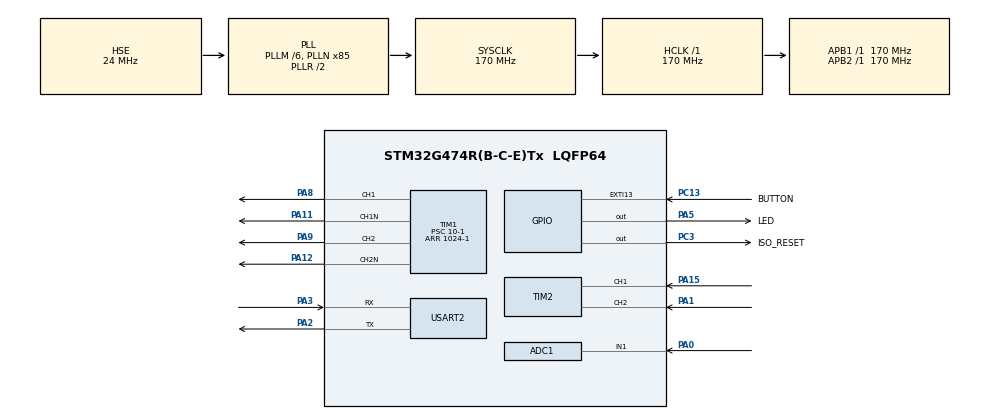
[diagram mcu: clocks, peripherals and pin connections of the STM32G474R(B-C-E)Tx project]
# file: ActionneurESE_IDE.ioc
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ADC1.Channel-0\#ChannelRegularConversion=ADC_CHANNEL_1
ADC1.DMAContinuousRequests=ENABLE
ADC1.ExternalTrigConv=ADC_EXTERNALTRIG_T1_TRGO
ADC1.NbrOfConversionFlag=1
ADC1.OffsetNumber-0\#ChannelRegularConversion=ADC_OFFSET_NONE
ADC1.Rank-0\#ChannelRegularConversion=1
ADC1.SamplingTime-0\#ChannelRegularConversion=ADC_SAMPLETIME_92CYCLES_5
ADC1.master=1
Dma.ADC1.0.Direction=DMA_PERIPH_TO_MEMORY
Dma.ADC1.0.EventEnable=DISABLE
Dma.ADC1.0.Instance=DMA1_Channel1
Dma.ADC1.0.MemDataAlignment=DMA_MDATAALIGN_HALFWORD
Dma.ADC1.0.MemInc=DMA_MINC_ENABLE
Dma.ADC1.0.Mode=DMA_CIRCULAR
Dma.ADC1.0.PeriphDataAlignment=DMA_PDATAALIGN_HALFWORD
Dma.ADC1.0.PeriphInc=DMA_PINC_DISABLE
Dma.ADC1.0.Polarity=HAL_DMAMUX_REQ_GEN_RISING
Dma.ADC1.0.Priority=DMA_PRIORITY_LOW
Dma.ADC1.0.RequestNumber=1
Dma.ADC1.0.SignalID=NONE
Dma.ADC1.0.SyncEnable=DISABLE
Dma.ADC1.0.SyncPolarity=HAL_DMAMUX_SYNC_NO_EVENT
Dma.ADC1.0.SyncRequestNumber=1
Dma.ADC1.0.SyncSignalID=NONE
Dma.Request0=ADC1
Mcu.Family=STM32G4
Mcu.Name=STM32G474R(B-C-E)Tx
Mcu.Package=LQFP64
NVIC.DMA1_Channel1_IRQn=true\:0\:0\:false\:false\:true\:false\:true\:true
NVIC.EXTI15_10_IRQn=true\:1\:0\:true\:false\:true\:true\:true\:true
NVIC.PriorityGroup=NVIC_PRIORITYGROUP_4
NVIC.RCC_IRQn=true\:0\:0\:false\:false\:true\:true\:false\:true
NVIC.TIM8_UP_IRQn=true\:0\:0\:false\:false\:true\:true\:true\:true
NVIC.USART2_IRQn=true\:1\:0\:true\:false\:true\:true\:true\:true
PA0.Mode=IN1-Single-Ended
PA0.Signal=ADC1_IN1
PA1.Signal=S_TIM2_CH2
PA11.Mode=PWM Generation1 CH1 CH1N
PA11.Signal=TIM1_CH1N
PA12.Mode=PWM Generation2 CH2 CH2N
PA12.Signal=TIM1_CH2N
PA13.GPIO_Label=T_SWDIO
PA13.Mode=Serial_Wire
PA13.Signal=SYS_JTMS-SWDIO
PA14.GPIO_Label=T_SWCLK
PA14.Mode=Serial_Wire
PA14.Signal=SYS_JTCK-SWCLK
PA15.Signal=S_TIM2_CH1
PA2.Mode=Asynchronous
PA2.Signal=USART2_TX
PA3.Mode=Asynchronous
PA3.Signal=USART2_RX
PA5.GPIO_Label=LED
PA5.Signal=GPIO_Output
PA8.Signal=S_TIM1_CH1
PA9.Signal=S_TIM1_CH2
PC13.GPIO_Label=BUTTON
PC13.Signal=GPXTI13
PC14-OSC32_IN.Mode=LSE-External-Oscillator
PC14-OSC32_IN.Signal=RCC_OSC32_IN
PC15-OSC32_OUT.Mode=LSE-External-Oscillator
PC15-OSC32_OUT.Signal=RCC_OSC32_OUT
PC3.GPIO_Label=ISO_RESET
PC3.Signal=GPIO_Output
PF0-OSC_IN.Mode=HSE-External-Oscillator
PF0-OSC_IN.Signal=RCC_OSC_IN
PF1-OSC_OUT.Mode=HSE-External-Oscillator
PF1-OSC_OUT.Signal=RCC_OSC_OUT
ProjectManager.HeapSize=0x200
ProjectManager.StackSize=0x400
ProjectManager.TargetToolchain=STM32CubeIDE
RCC.ADC12Freq_Value=170000000
RCC.ADC345Freq_Value=170000000
RCC.AHBFreq_Value=170000000
RCC.APB1Freq_Value=170000000
RCC.APB1TimFreq_Value=170000000
RCC.APB2Freq_Value=170000000
RCC.APB2TimFreq_Value=170000000
RCC.CortexFreq_Value=170000000
RCC.EXTERNAL_CLOCK_VALUE=12288000
RCC.HCLKFreq_Value=170000000
RCC.HSE_VALUE=24000000
RCC.HSI48_VALUE=48000000
RCC.HSI_VALUE=16000000
RCC.PLLM=RCC_PLLM_DIV6
RCC.PLLN=85
RCC.PLLSourceVirtual=RCC_PLLSOURCE_HSE
RCC.RTCClockSelection=RCC_RTCCLKSOURCE_LSE
RCC.SYSCLKFreq_VALUE=170000000
RCC.SYSCLKSource=RCC_SYSCLKSOURCE_PLLCLK
RCC.USBFreq_Value=170000000
RCC.VCOOutputFreq_Value=340000000
SH.S_TIM1_CH1.0=TIM1_CH1,PWM Generation1 CH1 CH1N
SH.S_TIM1_CH2.0=TIM1_CH2,PWM Generation2 CH2 CH2N
SH.S_TIM2_CH1.0=TIM2_CH1,Encoder_Interface
SH.S_TIM2_CH2.0=TIM2_CH2,Encoder_Interface
TIM1.AutoReloadPreload=TIM_AUTORELOAD_PRELOAD_ENABLE
TIM1.Channel-PWM\ Generation1\ CH1\ CH1N=TIM_CHANNEL_1
TIM1.Channel-PWM\ Generation2\ CH2\ CH2N=TIM_CHANNEL_2
TIM1.CounterMode=TIM_COUNTERMODE_CENTERALIGNED1
TIM1.DeadTime=210
TIM1.DeadTimePreload=ENABLE
TIM1.PeriodNoDither=1024-1
TIM1.Prescaler=10-1
TIM1.PulseNoDither_1=614
TIM1.PulseNoDither_2=410
TIM1.TIM_MasterOutputTrigger=TIM_TRGO_UPDATE
TIM1.TIM_MasterSlaveMode=TIM_MASTERSLAVEMODE_ENABLE
TIM8.PeriodNoDither=1700
TIM8.Prescaler=100
USART2.VirtualMode-Asynchronous=VM_ASYNC
VP_SYS_VS_DBSignals.Mode=DisableDeadBatterySignals
VP_TIM8_VS_ClockSourceINT.Mode=Internal
board=NUCLEO-G474RE

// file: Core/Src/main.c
/* USER CODE BEGIN Header */
/**
 ******************************************************************************
 * @file           : main.c
 * @brief          : Main program body
 ******************************************************************************
 *
 *Programme permettant de:
 *
 *Réaliser un shell pour commander le hacheur \n
 *Réaliser la commande des 4 transistors du hacheur en commande complémentaire décalée \n
 *Faire l'acquisition des différents capteurs \n
 *Réaliser l'asservissement en temps réel \n
 *
 ******************************************************************************
 */
/* USER CODE END Header */
#include "main.h"
#include "adc.h"
#include "dma.h"
#include "tim.h"
#include "usart.h"
#include "gpio.h"

/* USER CODE BEGIN Includes */
#include <stdio.h>
#include <stdlib.h>
#include <string.h>
#include "power_module.h"
#include "asservissement.h"

/* USER CODE END Includes */

/* USER CODE BEGIN PD */
#define UART_TX_BUFFER_SIZE 64
#define UART_RX_BUFFER_SIZE 1
#define CMD_BUFFER_SIZE 64
#define MAX_ARGS 9
// LF = line feed, saut de ligne
#define ASCII_LF 0x0A
// CR = carriage return, retour chariot
#define ASCII_CR 0x0D
// DEL = delete
#define ASCII_DEL 0x7F
/* USER CODE END PD */

/* USER CODE BEGIN PV */
uint8_t prompt[]="user@Nucleo-STM32G431>>";
uint8_t started[]=
		"\r\n*-----------------------------*"
		"\r\n| Welcome on Nucleo-STM32G431 |"
		"\r\n*-----------------------------*"
		"\r\n";
uint8_t help[]=
		"\r\n*-------*"
		"\r\n| start |"
		"\r\n*-----------------------------*"
		"\r\n*-----------------------------*"
		"\r\n| stop |"
		"\r\n*-----------------------------*"
		"\r\n*-----------------------------*"
		"\r\n| speed=<dutyCycle> |"
		"\r\n*-----------------------------*"
		"\r\n*-----------------------------*"
		"\r\n| current |"
		"\r\n*---------*"
		"\r\n";
uint8_t newline[]="\r\n";
uint8_t cmdNotFound[]="Command not found\r\n";
uint8_t ADCError[]="Error with ADC";
uint32_t uartRxReceived;
uint8_t uartRxBuffer[UART_RX_BUFFER_SIZE];
uint8_t uartTxBuffer[UART_TX_BUFFER_SIZE];
uint32_t ADC_Buffer[ADC_BUF_SIZE];
uint8_t printCurrent[] = "\r\nCurrent = %d \r\n";
const uint8_t powerOn[] ="Power ON \r\n ";
const uint8_t powerOff[] = "Power OFF \r\n ";
const uint8_t vitesseNotFound[]="\r\n Vitessse Inconnu \r\n";
uint8_t printSpeed[] = "\r\nSpeed = %d \r\n";
uint16_t vitesse;

/* USER CODE END PV */

void SystemClock_Config(void);

int main(void)
{
	/* USER CODE BEGIN 1 */
	char	 	cmdBuffer[CMD_BUFFER_SIZE];
	int 		idx_cmd;
	char* 		argv[MAX_ARGS];
	int		 	argc = 0;
	char*		token;
	int 		newCmdReady = 0;

	/* USER CODE END 1 */

	/* MCU Configuration--------------------------------------------------------*/

	/* Reset of all peripherals, Initializes the Flash interface and the Systick. */
	HAL_Init();

	/* Configure the system clock */
	SystemClock_Config();

	/* Initialize all configured peripherals */
	MX_GPIO_Init();
	MX_DMA_Init();
	MX_TIM1_Init();
	MX_USART2_UART_Init();
	MX_ADC1_Init();
	MX_TIM2_Init();
	MX_TIM8_Init();
	/* USER CODE BEGIN 2 */
	if(HAL_OK != HAL_ADC_Start_DMA(&hadc1, ADC_Buffer, ADC_BUF_SIZE))
		HAL_UART_Transmit(&huart2, ADCError, sizeof(ADCError), HAL_MAX_DELAY);

	memset(argv,0,MAX_ARGS*sizeof(char*));
	memset(cmdBuffer,0,CMD_BUFFER_SIZE*sizeof(char));
	memset(uartRxBuffer,0,UART_RX_BUFFER_SIZE*sizeof(char));
	memset(uartTxBuffer,0,UART_TX_BUFFER_SIZE*sizeof(char));

	HAL_UART_Receive_IT(&huart2, uartRxBuffer, UART_RX_BUFFER_SIZE);
	HAL_Delay(10);

	HAL_UART_Transmit(&huart2, started, sizeof(started), HAL_MAX_DELAY);
	HAL_UART_Transmit(&huart2, prompt, sizeof(prompt), HAL_MAX_DELAY);

	/* USER CODE END 2 */

	/* Infinite loop */
	/* USER CODE BEGIN WHILE */
	while (1)
	{
		// uartRxReceived is set to 1 when a new character is received on uart 1
		if(uartRxReceived){
			switch(uartRxBuffer[0]){
			// Nouvelle ligne, instruction à traiter
			case ASCII_CR:
				HAL_UART_Transmit(&huart2, newline, sizeof(newline), HAL_MAX_DELAY);
				cmdBuffer[idx_cmd] = '\0';
				argc = 0;
				token = strtok(cmdBuffer, "=");//
				while(token!=NULL){
					argv[argc++] = token;
					token = strtok(NULL, " ");
				}
				idx_cmd = 0;
				newCmdReady = 1;
				break;
				// Suppression du dernier caractère
			case ASCII_DEL:
				cmdBuffer[idx_cmd--] = '\0';
				HAL_UART_Transmit(&huart2, uartRxBuffer, UART_RX_BUFFER_SIZE, HAL_MAX_DELAY);
				break;
				// Nouveau caractère
			default:
				cmdBuffer[idx_cmd++] = uartRxBuffer[0];
				HAL_UART_Transmit(&huart2, uartRxBuffer, UART_RX_BUFFER_SIZE, HAL_MAX_DELAY);
			}
			uartRxReceived = 0;
		}

		if(newCmdReady){

			if(strcmp(argv[0],"speed")==0){
				if(strlen(argv[1])==2)
				{
					change_ccr(atoi(argv[1]));
				}
				else {
					HAL_UART_Transmit(&huart2, vitesseNotFound, sizeof(vitesseNotFound), HAL_MAX_DELAY);                      }

			}
			else if(strcmp(argv[0],"start")==0)
			{
				start_module();
				HAL_UART_Transmit(&huart2, powerOn, sizeof(powerOn), HAL_MAX_DELAY);

			}
			else if(strcmp(argv[0],"stop")==0)
			{
				stop_module();
				HAL_UART_Transmit(&huart2, powerOff, sizeof(powerOff), HAL_MAX_DELAY);
			}
			else if(strcmp(argv[0],"current")==0)
			{
				int current = get_mean_current();
				snprintf((char*)uartTxBuffer, UART_TX_BUFFER_SIZE, "\r\nCurrent = %d \r\n", current);
				HAL_UART_Transmit(&huart2, uartTxBuffer, sizeof(uartTxBuffer), HAL_MAX_DELAY);
			}
			else if(strcmp(argv[0],"help")==0){
				HAL_UART_Transmit(&huart2, help, sizeof(help), HAL_MAX_DELAY);
			}
			else if(strcmp(argv[0],"vitesse")==0)
			{
				snprintf((char*)uartTxBuffer, UART_TX_BUFFER_SIZE, "\r\n Vitesse = %d \r\n", vitesse);
				HAL_UART_Transmit(&huart2, uartTxBuffer, sizeof(uartTxBuffer), HAL_MAX_DELAY);
			}
			else{
				HAL_UART_Transmit(&huart2, cmdNotFound, sizeof(cmdNotFound), HAL_MAX_DELAY);
			}
			HAL_UART_Transmit(&huart2, prompt, sizeof(prompt), HAL_MAX_DELAY);
			newCmdReady = 0;
		}

		/* USER CODE END WHILE */

	}
}

void SystemClock_Config(void)
{
	RCC_OscInitTypeDef RCC_OscInitStruct = {0};
	RCC_ClkInitTypeDef RCC_ClkInitStruct = {0};

	/** Configure the main internal regulator output voltage
	 */
	HAL_PWREx_ControlVoltageScaling(PWR_REGULATOR_VOLTAGE_SCALE1_BOOST);

	/** Initializes the RCC Oscillators according to the specified parameters
	 * in the RCC_OscInitTypeDef structure.
	 */
	RCC_OscInitStruct.OscillatorType = RCC_OSCILLATORTYPE_HSE;
	RCC_OscInitStruct.HSEState = RCC_HSE_ON;
	RCC_OscInitStruct.PLL.PLLState = RCC_PLL_ON;
	RCC_OscInitStruct.PLL.PLLSource = RCC_PLLSOURCE_HSE;
	RCC_OscInitStruct.PLL.PLLM = RCC_PLLM_DIV6;
	RCC_OscInitStruct.PLL.PLLN = 85;
	RCC_OscInitStruct.PLL.PLLP = RCC_PLLP_DIV2;
	RCC_OscInitStruct.PLL.PLLQ = RCC_PLLQ_DIV2;
	RCC_OscInitStruct.PLL.PLLR = RCC_PLLR_DIV2;
	if (HAL_RCC_OscConfig(&RCC_OscInitStruct) != HAL_OK)
	{
		Error_Handler();
	}

	/** Initializes the CPU, AHB and APB buses clocks
	 */
	RCC_ClkInitStruct.ClockType = RCC_CLOCKTYPE_HCLK|RCC_CLOCKTYPE_SYSCLK
			|RCC_CLOCKTYPE_PCLK1|RCC_CLOCKTYPE_PCLK2;
	RCC_ClkInitStruct.SYSCLKSource = RCC_SYSCLKSOURCE_PLLCLK;
	RCC_ClkInitStruct.AHBCLKDivider = RCC_SYSCLK_DIV1;
	RCC_ClkInitStruct.APB1CLKDivider = RCC_HCLK_DIV1;
	RCC_ClkInitStruct.APB2CLKDivider = RCC_HCLK_DIV1;

	if (HAL_RCC_ClockConfig(&RCC_ClkInitStruct, FLASH_LATENCY_4) != HAL_OK)
	{
		Error_Handler();
	}
}

/* USER CODE BEGIN 4 */
void HAL_UART_RxCpltCallback (UART_HandleTypeDef * huart){
	uartRxReceived = 1;
	HAL_UART_Receive_IT(&huart2, uartRxBuffer, UART_RX_BUFFER_SIZE);
}

void HAL_ADC_ConvCpltCallback(ADC_HandleTypeDef* AdcHandle)
{

}

void HAL_TIM_PeriodElapsedCallback(TIM_HandleTypeDef *htim){
	if(htim == &htim8)
		fetch_speed();

}
/* USER CODE END 4 */

void Error_Handler(void)
{
	__disable_irq();
	while (1)
	{
	}
}
